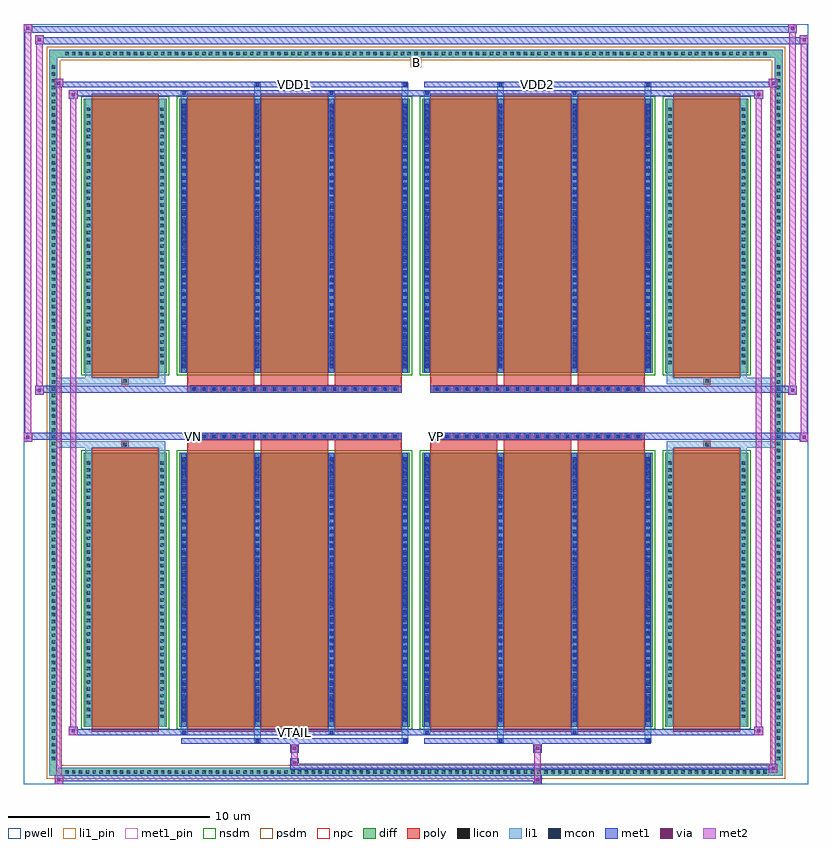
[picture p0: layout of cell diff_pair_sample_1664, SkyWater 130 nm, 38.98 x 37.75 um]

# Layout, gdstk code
import gdstk
lib = gdstk.Library(unit=1e-6, precision=5e-09)
def R(c, l, rs):  # rectangles x0, y0, x1, y1
    for r in rs: c.add(gdstk.rectangle(r[:2], r[2:], *l))
def A(c, l, x, y, w, h, nx, ny, dx, dy):  # array of equal rectangles
    R(c, l, [(x+i*dx, y+j*dy, x+i*dx+w, y+j*dy+h) for i in range(nx) for j in range(ny)])
def P(c, l, *ps):  # polygons
    for p in ps: c.add(gdstk.Polygon(p, *l))
pwell = (64, 44)
diff = (65, 20)
poly = (66, 20)
licon = (66, 44)
li1_pin = (67, 16)
li1 = (67, 20)
mcon = (67, 44)
met1_pin = (68, 16)
met1 = (68, 20)
via = (68, 44)
met2 = (69, 20)
nsdm = (93, 44)
psdm = (94, 20)
npc = (95, 20)

diff_pair_sample_1664 = lib.new_cell('diff_pair_sample_1664')
R(diff_pair_sample_1664, pwell, [(-19.49,-18.44,19.49,19.31), (-16.81,-16.63,-0.01,-0.805), (0.01,-16.63,16.81,-0.805), (-16.81,0.805,-0.01,16.63), (0.01,0.805,16.81,16.63)])
A(diff_pair_sample_1664, diff, -17.545, -18.04, 0.41, 0.41, 103, 2, 0.34, 35.67)
A(diff_pair_sample_1664, diff, -18.22, -17.375, 0.41, 0.41, 1, 102, 0, 0.34)
A(diff_pair_sample_1664, diff, 17.81, -17.375, 0.41, 0.41, 1, 102, 0, 0.34)
R(diff_pair_sample_1664, diff, [(-17.545,-18.04,17.545,-17.63), (-18.22,-17.375,-17.81,17.375), (17.81,-17.375,18.22,17.375), (-16.5,-15.585,-12.39,-1.985), (-11.75,-15.585,-0.32,-1.985), (0.32,-15.585,11.75,-1.985), (12.39,-15.585,16.5,-1.985), (-16.5,1.985,-12.39,15.585), (-11.75,1.985,-0.32,15.585), (0.32,1.985,11.75,15.585), (12.39,1.985,16.5,15.585), (-17.545,17.63,17.545,18.04)])
P(diff_pair_sample_1664, diff, [(18.22,18.04),(-18.22,18.04),(-18.22,-17.63),(-17.81,-17.63),(-17.81,17.63),(17.81,17.63),(17.81,-17.63),(-17.81,-17.63),(-18.22,-17.63),(-18.22,-18.04),(18.22,-18.04)])
A(diff_pair_sample_1664, poly, -11.36, -15.835, 3.33, 14.1, 3, 2, 3.66, 17.57)
A(diff_pair_sample_1664, poly, 0.71, -15.835, 3.33, 14.1, 3, 2, 3.66, 17.57)
A(diff_pair_sample_1664, poly, -11.36, -1.735, 3.33, 0.4, 3, 2, 3.66, 3.07)
A(diff_pair_sample_1664, poly, 0.71, -1.735, 3.33, 0.4, 3, 2, 3.66, 3.07)
A(diff_pair_sample_1664, poly, -11.2, -1.335, 0.33, 0.33, 21, 2, 0.5, 2.34)
A(diff_pair_sample_1664, poly, 0.87, -1.335, 0.33, 0.33, 21, 2, 0.5, 2.34)
R(diff_pair_sample_1664, poly, [(-16.11,-15.835,-12.78,-1.735), (12.78,-15.835,16.11,-1.735), (-14.61,-1.735,-14.28,-1.405), (-14.61,-1.735,-14.28,-1.405), (14.28,-1.735,14.61,-1.405), (14.28,-1.735,14.61,-1.405), (-11.36,-1.335,-0.71,-1.005), (0.71,-1.335,11.36,-1.005), (-11.36,1.005,-0.71,1.335), (0.71,1.005,11.36,1.335), (-14.61,1.405,-14.28,1.735), (-14.61,1.405,-14.28,1.735), (14.28,1.405,14.61,1.735), (14.28,1.405,14.61,1.735), (-16.11,1.735,-12.78,15.835), (12.78,1.735,16.11,15.835)])
A(diff_pair_sample_1664, licon, -17.425, -17.92, 0.17, 0.17, 103, 2, 0.34, 35.67)
A(diff_pair_sample_1664, licon, -18.1, -17.255, 0.17, 0.17, 1, 102, 0, 0.34)
A(diff_pair_sample_1664, licon, 17.93, -17.255, 0.17, 0.17, 1, 102, 0, 0.34)
A(diff_pair_sample_1664, licon, -16.36, -15.16, 0.17, 0.17, 1, 38, 0, 0.34)
A(diff_pair_sample_1664, licon, -12.7, -15.16, 0.17, 0.17, 1, 38, 0, 0.34)
A(diff_pair_sample_1664, licon, -11.61, -15.16, 0.17, 0.17, 4, 38, 3.66, 0.34)
A(diff_pair_sample_1664, licon, 0.46, -15.16, 0.17, 0.17, 4, 38, 3.66, 0.34)
A(diff_pair_sample_1664, licon, 12.53, -15.16, 0.17, 0.17, 1, 38, 0, 0.34)
A(diff_pair_sample_1664, licon, 16.19, -15.16, 0.17, 0.17, 1, 38, 0, 0.34)
A(diff_pair_sample_1664, licon, -11.12, -1.255, 0.17, 0.17, 21, 2, 0.5, 2.34)
A(diff_pair_sample_1664, licon, 0.95, -1.255, 0.17, 0.17, 21, 2, 0.5, 2.34)
A(diff_pair_sample_1664, licon, -16.36, 2.41, 0.17, 0.17, 1, 38, 0, 0.34)
A(diff_pair_sample_1664, licon, -12.7, 2.41, 0.17, 0.17, 1, 38, 0, 0.34)
A(diff_pair_sample_1664, licon, -11.61, 2.41, 0.17, 0.17, 4, 38, 3.66, 0.34)
A(diff_pair_sample_1664, licon, 0.46, 2.41, 0.17, 0.17, 4, 38, 3.66, 0.34)
A(diff_pair_sample_1664, licon, 12.53, 2.41, 0.17, 0.17, 1, 38, 0, 0.34)
A(diff_pair_sample_1664, licon, 16.19, 2.41, 0.17, 0.17, 1, 38, 0, 0.34)
R(diff_pair_sample_1664, licon, [(-14.53,-1.655,-14.36,-1.485), (14.36,-1.655,14.53,-1.485), (-14.53,1.485,-14.36,1.655), (14.36,1.485,14.53,1.655)])
R(diff_pair_sample_1664, li1_pin, [(-0.25,17.13,0.25,17.63)])
A(diff_pair_sample_1664, li1, -17.505, -18, 0.33, 0.33, 103, 2, 0.34, 35.67)
A(diff_pair_sample_1664, li1, -18.18, -17.335, 0.33, 0.33, 1, 102, 0, 0.34)
A(diff_pair_sample_1664, li1, 17.85, -17.335, 0.33, 0.33, 1, 102, 0, 0.34)
A(diff_pair_sample_1664, li1, -11.69, -15.585, 0.33, 13.6, 4, 2, 3.66, 17.57)
A(diff_pair_sample_1664, li1, 0.38, -15.585, 0.33, 13.6, 4, 2, 3.66, 17.57)
A(diff_pair_sample_1664, li1, -11.61, -15.35, 0.17, 0.17, 4, 37, 3.66, 0.36)
A(diff_pair_sample_1664, li1, -11.61, -15.35, 0.17, 13.13, 4, 2, 3.66, 17.57)
A(diff_pair_sample_1664, li1, 0.46, -15.35, 0.17, 0.17, 4, 37, 3.66, 0.36)
A(diff_pair_sample_1664, li1, 0.46, -15.35, 0.17, 13.13, 4, 2, 3.66, 17.57)
A(diff_pair_sample_1664, li1, -16.44, -15.24, 0.33, 0.33, 1, 38, 0, 0.34)
A(diff_pair_sample_1664, li1, -12.78, -15.24, 0.33, 0.33, 1, 38, 0, 0.34)
A(diff_pair_sample_1664, li1, -11.69, -15.24, 0.33, 0.33, 4, 38, 3.66, 0.34)
A(diff_pair_sample_1664, li1, 0.38, -15.24, 0.33, 0.33, 4, 38, 3.66, 0.34)
A(diff_pair_sample_1664, li1, 12.45, -15.24, 0.33, 0.33, 1, 38, 0, 0.34)
A(diff_pair_sample_1664, li1, 16.11, -15.24, 0.33, 0.33, 1, 38, 0, 0.34)
A(diff_pair_sample_1664, li1, -11.2, -1.335, 0.33, 0.33, 21, 2, 0.5, 2.34)
A(diff_pair_sample_1664, li1, 0.87, -1.335, 0.33, 0.33, 21, 2, 0.5, 2.34)
A(diff_pair_sample_1664, li1, -11.61, 2.22, 0.17, 0.17, 4, 37, 3.66, 0.36)
A(diff_pair_sample_1664, li1, 0.46, 2.22, 0.17, 0.17, 4, 37, 3.66, 0.36)
A(diff_pair_sample_1664, li1, -16.44, 2.33, 0.33, 0.33, 1, 38, 0, 0.34)
A(diff_pair_sample_1664, li1, -12.78, 2.33, 0.33, 0.33, 1, 38, 0, 0.34)
A(diff_pair_sample_1664, li1, -11.69, 2.33, 0.33, 0.33, 4, 38, 3.66, 0.34)
A(diff_pair_sample_1664, li1, 0.38, 2.33, 0.33, 0.33, 4, 38, 3.66, 0.34)
A(diff_pair_sample_1664, li1, 12.45, 2.33, 0.33, 0.33, 1, 38, 0, 0.34)
A(diff_pair_sample_1664, li1, 16.11, 2.33, 0.33, 0.33, 1, 38, 0, 0.34)
R(diff_pair_sample_1664, li1, [(-18.22,-18.04,-17.81,-17.63), (-18.22,-18.04,-17.81,-17.63), (-17.81,-18.04,17.81,-17.63), (17.81,-18.04,18.22,-17.63), (17.81,-18.04,18.22,-17.63), (-18.22,-17.63,-17.81,17.63), (17.81,-17.63,18.22,17.63), (-8.03,-16.39,-7.7,-15.585), (-7.95,-16.39,-7.78,-16.22), (-0.71,-16.39,-0.38,-15.585), (-0.63,-16.39,-0.46,-16.22), (4.04,-16.39,4.37,-15.585), (4.12,-16.39,4.29,-16.22), (11.36,-16.39,11.69,-15.585), (11.44,-16.39,11.61,-16.22), (-11.69,-15.96,-11.36,-15.585), (-11.61,-15.96,-11.44,-15.79), (-4.37,-15.96,-4.04,-15.585), (-4.29,-15.96,-4.12,-15.79), (0.38,-15.96,0.71,-15.585), (0.46,-15.96,0.63,-15.79), (7.7,-15.96,8.03,-15.585), (7.78,-15.96,7.95,-15.79), (-16.44,-15.585,-16.11,-1.985), (-12.78,-15.585,-12.45,-1.985), (12.45,-15.585,12.78,-1.985), (16.11,-15.585,16.44,-1.985), (-16.44,-1.985,-16.11,-1.405), (-12.78,-1.985,-12.45,-1.405), (12.45,-1.985,12.78,-1.405), (16.11,-1.985,16.44,-1.405), (-18.22,-1.735,-14.61,-1.405), (-16.44,-1.735,-14.61,-1.405), (-14.61,-1.735,-14.28,-1.405), (-14.28,-1.735,-12.45,-1.405), (12.45,-1.735,14.28,-1.405), (14.28,-1.735,14.61,-1.405), (14.28,-1.735,18.22,-1.405), (14.61,-1.735,16.44,-1.405), (-18.22,1.405,-14.61,1.735), (-16.44,1.405,-14.61,1.735), (-16.44,1.405,-16.11,1.985), (-14.61,1.405,-14.28,1.735), (-14.28,1.405,-12.45,1.735), (-12.78,1.405,-12.45,1.985), (12.45,1.405,14.28,1.735), (12.45,1.405,12.78,1.985), (14.28,1.405,14.61,1.735), (14.28,1.405,18.22,1.735), (14.61,1.405,16.44,1.735), (16.11,1.405,16.44,1.985), (-16.44,1.985,-16.11,15.585), (-12.78,1.985,-12.45,15.585), (12.45,1.985,12.78,15.585), (16.11,1.985,16.44,15.585), (-11.69,15.585,-11.36,15.96), (-8.03,15.585,-7.7,16.39), (-4.37,15.585,-4.04,15.96), (-0.71,15.585,-0.38,16.39), (0.38,15.585,0.71,15.96), (4.04,15.585,4.37,16.39), (7.7,15.585,8.03,15.96), (11.36,15.585,11.69,16.39), (-11.61,15.79,-11.44,15.96), (-4.29,15.79,-4.12,15.96), (0.46,15.79,0.63,15.96), (7.78,15.79,7.95,15.96), (-7.95,16.22,-7.78,16.39), (-0.63,16.22,-0.46,16.39), (4.12,16.22,4.29,16.39), (11.44,16.22,11.61,16.39), (-18.22,17.63,-17.81,18.04), (-18.22,17.63,-17.81,18.04), (-17.81,17.63,17.81,18.04), (17.81,17.63,18.22,18.04), (17.81,17.63,18.22,18.04)])
A(diff_pair_sample_1664, mcon, -11.61, -15.35, 0.17, 0.17, 4, 37, 3.66, 0.36)
A(diff_pair_sample_1664, mcon, 0.46, -15.35, 0.17, 0.17, 4, 37, 3.66, 0.36)
A(diff_pair_sample_1664, mcon, -11.12, -1.255, 0.17, 0.17, 21, 2, 0.5, 2.34)
A(diff_pair_sample_1664, mcon, 0.95, -1.255, 0.17, 0.17, 21, 2, 0.5, 2.34)
A(diff_pair_sample_1664, mcon, -11.61, 2.22, 0.17, 0.17, 4, 37, 3.66, 0.36)
A(diff_pair_sample_1664, mcon, 0.46, 2.22, 0.17, 0.17, 4, 37, 3.66, 0.36)
R(diff_pair_sample_1664, mcon, [(-7.95,-16.39,-7.78,-16.22), (-0.63,-16.39,-0.46,-16.22), (4.12,-16.39,4.29,-16.22), (11.44,-16.39,11.61,-16.22), (-11.61,-15.96,-11.44,-15.79), (-4.29,-15.96,-4.12,-15.79), (0.46,-15.96,0.63,-15.79), (7.78,-15.96,7.95,-15.79), (-11.61,15.79,-11.44,15.96), (-4.29,15.79,-4.12,15.96), (0.46,15.79,0.63,15.96), (7.78,15.79,7.95,15.96), (-7.95,16.22,-7.78,16.39), (-0.63,16.22,-0.46,16.39), (4.12,16.22,4.29,16.39), (11.44,16.22,11.61,16.39)])
R(diff_pair_sample_1664, met1_pin, [(-6.17,-16,-5.9,-15.73), (-11.17,-1.295,-10.9,-1.025), (0.9,-1.295,1.17,-1.025), (-6.17,16.18,-5.9,16.45), (5.9,16.18,6.17,16.45)])
A(diff_pair_sample_1664, met1, -11.67, -15.585, 0.29, 13.6, 4, 2, 3.66, 17.57)
A(diff_pair_sample_1664, met1, 0.4, -15.585, 0.29, 13.6, 4, 2, 3.66, 17.57)
A(diff_pair_sample_1664, met1, -11.67, -15.41, 0.29, 0.29, 4, 37, 3.66, 0.36)
A(diff_pair_sample_1664, met1, 0.4, -15.41, 0.29, 0.29, 4, 37, 3.66, 0.36)
A(diff_pair_sample_1664, met1, -11.18, -1.315, 0.29, 0.29, 21, 2, 0.5, 2.34)
A(diff_pair_sample_1664, met1, 0.89, -1.315, 0.29, 0.29, 21, 2, 0.5, 2.34)
A(diff_pair_sample_1664, met1, -11.67, 2.16, 0.29, 0.29, 4, 37, 3.66, 0.36)
A(diff_pair_sample_1664, met1, 0.4, 2.16, 0.29, 0.29, 4, 37, 3.66, 0.36)
R(diff_pair_sample_1664, met1, [(-17.95,-18.44,-17.52,-18.01), (5.82,-18.44,6.25,-18.01), (-17.95,-18.3,6.25,-18.01), (17.52,-17.87,17.95,-17.44), (-6.25,-17.73,17.95,-17.44), (-6.25,-17.59,-5.82,-17.16), (-6.25,-16.88,-5.82,-16.45), (5.82,-16.88,6.25,-16.45), (-11.67,-16.45,-0.4,-16.16), (-8.01,-16.45,-7.72,-16.16), (-0.69,-16.45,-0.4,-16.16), (0.4,-16.45,11.67,-16.16), (4.06,-16.45,4.35,-16.16), (11.38,-16.45,11.67,-16.16), (-17.24,-16.02,-16.81,-15.59), (-17.24,-16.02,-11.67,-15.73), (-11.67,-16.02,-11.38,-15.73), (-11.67,-16.02,-0.4,-15.73), (-4.35,-16.02,-4.06,-15.73), (-0.4,-16.02,0.4,-15.73), (0.4,-16.02,0.69,-15.73), (0.4,-16.02,11.67,-15.73), (7.72,-16.02,8.01,-15.73), (11.67,-16.02,17.24,-15.73), (16.81,-16.02,17.24,-15.59), (-19.49,-1.435,-19.06,-1.005), (19.06,-1.435,19.49,-1.005), (-19.49,-1.335,-0.71,-1.005), (-11.36,-1.335,-0.71,-1.005), (0.71,-1.335,11.36,-1.005), (0.71,-1.335,19.49,-1.005), (-18.92,0.905,-18.49,1.335), (18.49,0.905,18.92,1.335), (-18.92,1.005,-11.36,1.335), (-11.36,1.005,-0.71,1.335), (0.71,1.005,11.36,1.335), (11.36,1.005,18.92,1.335), (-17.24,15.59,-16.81,16.02), (16.81,15.59,17.24,16.02), (-17.24,15.73,-11.67,16.02), (-11.67,15.73,-11.38,16.02), (-11.67,15.73,-0.4,16.02), (-4.35,15.73,-4.06,16.02), (-0.4,15.73,0.4,16.02), (0.4,15.73,0.69,16.02), (0.4,15.73,11.67,16.02), (7.72,15.73,8.01,16.02), (11.67,15.73,17.24,16.02), (-17.95,16.16,-17.52,16.59), (-17.95,16.16,-11.67,16.45), (-11.67,16.16,-0.4,16.45), (-8.01,16.16,-7.72,16.45), (-0.69,16.16,-0.4,16.45), (0.4,16.16,11.67,16.45), (4.06,16.16,4.35,16.45), (11.38,16.16,11.67,16.45), (11.67,16.16,17.95,16.45), (17.52,16.16,17.95,16.59), (-18.92,18.31,-18.49,18.74), (-18.92,18.31,-16.81,18.64), (-16.81,18.31,16.81,18.64), (16.81,18.31,19.49,18.64), (19.06,18.31,19.49,18.74), (-19.49,18.88,-19.06,19.31), (-19.49,18.88,-16.81,19.21), (-16.81,18.88,16.81,19.21), (16.81,18.88,18.92,19.21), (18.49,18.88,18.92,19.31)])
R(diff_pair_sample_1664, via, [(-17.81,-18.3,-17.66,-18.15), (5.96,-18.3,6.11,-18.15), (17.66,-17.73,17.81,-17.58), (-6.11,-17.45,-5.96,-17.3), (-6.11,-16.74,-5.96,-16.59), (5.96,-16.74,6.11,-16.59), (-17.1,-15.88,-16.95,-15.73), (16.95,-15.88,17.1,-15.73), (-19.35,-1.295,-19.2,-1.145), (19.2,-1.295,19.35,-1.145), (-18.78,1.045,-18.63,1.195), (18.63,1.045,18.78,1.195), (-17.1,15.73,-16.95,15.88), (16.95,15.73,17.1,15.88), (-17.81,16.3,-17.66,16.45), (17.66,16.3,17.81,16.45), (-18.78,18.45,-18.63,18.6), (19.2,18.45,19.35,18.6), (-19.35,19.02,-19.2,19.17), (18.63,19.02,18.78,19.17)])
R(diff_pair_sample_1664, met2, [(-17.95,-18.44,-17.52,-18.01), (-17.88,-18.44,-17.59,16.59), (-17.59,-18.44,-17.52,-18.01), (-17.9,-18.39,-17.57,-18.06), (5.87,-18.39,6.2,-18.06), (5.87,-18.06,6.2,-16.83), (17.52,-17.87,17.95,-17.44), (17.59,-17.87,17.88,16.59), (17.88,-17.87,17.95,-17.44), (17.57,-17.82,17.9,-17.49), (-6.2,-17.54,-5.87,-17.21), (-6.2,-17.21,-5.87,-16.83), (-6.2,-16.83,-5.87,-16.5), (5.87,-16.83,6.2,-16.5), (-17.24,-16.02,-16.81,-15.59), (-17.17,-16.02,-16.88,16.02), (-16.88,-16.02,-16.81,-15.59), (16.81,-16.02,17.24,-15.59), (16.88,-16.02,17.17,16.02), (17.17,-16.02,17.24,-15.59), (-17.19,-15.97,-16.86,-15.64), (16.86,-15.97,17.19,-15.64), (-19.49,-1.435,-19.06,-1.005), (-19.44,-1.435,-19.11,19.31), (-19.11,-1.435,-19.06,-1.005), (19.06,-1.435,19.49,-1.005), (19.11,-1.435,19.44,18.74), (19.44,-1.435,19.49,-1.005), (-19.44,-1.385,-19.11,-1.055), (19.11,-1.385,19.44,-1.055), (-18.92,0.905,-18.49,1.335), (-18.87,0.905,-18.54,18.74), (-18.54,0.905,-18.49,1.335), (18.49,0.905,18.92,1.335), (18.54,0.905,18.87,19.31), (18.87,0.905,18.92,1.335), (-18.87,0.955,-18.54,1.285), (18.54,0.955,18.87,1.285), (-17.24,15.59,-16.81,16.02), (-16.88,15.59,-16.81,16.02), (16.81,15.59,17.24,16.02), (17.17,15.59,17.24,16.02), (-17.19,15.64,-16.86,15.97), (16.86,15.64,17.19,15.97), (-17.95,16.16,-17.52,16.59), (-17.59,16.16,-17.52,16.59), (17.52,16.16,17.95,16.59), (17.88,16.16,17.95,16.59), (-17.9,16.21,-17.57,16.54), (17.57,16.21,17.9,16.54), (-18.92,18.31,-18.49,18.74), (-18.54,18.31,-18.49,18.74), (19.06,18.31,19.49,18.74), (19.44,18.31,19.49,18.74), (-18.87,18.36,-18.54,18.69), (19.11,18.36,19.44,18.69), (-19.49,18.88,-19.06,19.31), (-19.11,18.88,-19.06,19.31), (18.49,18.88,18.92,19.31), (18.87,18.88,18.92,19.31), (-19.44,18.93,-19.11,19.26), (18.54,18.93,18.87,19.26)])
R(diff_pair_sample_1664, nsdm, [(-16.63,-15.715,-12.26,-1.855), (-11.88,-15.715,-0.19,-1.855), (0.19,-15.715,11.88,-1.855), (12.26,-15.715,16.63,-1.855), (-16.63,1.855,-12.26,15.715), (-11.88,1.855,-0.19,15.715), (0.19,1.855,11.88,15.715), (12.26,1.855,16.63,15.715)])
P(diff_pair_sample_1664, psdm, [(18.35,18.17),(-18.35,18.17),(-18.35,-17.5),(-17.68,-17.5),(-17.68,17.5),(17.68,17.5),(17.68,-17.5),(-17.68,-17.5),(-18.35,-17.5),(-18.35,-18.17),(18.35,-18.17)])
A(diff_pair_sample_1664, npc, -11.22, -1.355, 0.37, 0.37, 21, 2, 0.5, 2.34)
A(diff_pair_sample_1664, npc, 0.85, -1.355, 0.37, 0.37, 21, 2, 0.5, 2.34)
R(diff_pair_sample_1664, npc, [(-14.63,-1.755,-14.26,-1.385), (14.26,-1.755,14.63,-1.385), (-11.22,-1.355,-10.35,-0.985), (-11.22,-1.355,-10.35,-0.985), (-10.72,-1.355,-9.85,-0.985), (-10.72,-1.355,-9.85,-0.985), (-10.22,-1.355,-9.35,-0.985), (-10.22,-1.355,-9.35,-0.985), (-9.72,-1.355,-8.85,-0.985), (-9.72,-1.355,-8.85,-0.985), (-9.22,-1.355,-8.35,-0.985), (-9.22,-1.355,-8.35,-0.985), (-8.72,-1.355,-7.85,-0.985), (-8.72,-1.355,-7.85,-0.985), (-8.22,-1.355,-7.35,-0.985), (-8.22,-1.355,-7.35,-0.985), (-7.72,-1.355,-6.85,-0.985), (-7.72,-1.355,-6.85,-0.985), (-7.22,-1.355,-6.35,-0.985), (-7.22,-1.355,-6.35,-0.985), (-6.72,-1.355,-5.85,-0.985), (-6.72,-1.355,-5.85,-0.985), (-6.22,-1.355,-5.35,-0.985), (-6.22,-1.355,-5.35,-0.985), (-5.72,-1.355,-4.85,-0.985), (-5.72,-1.355,-4.85,-0.985), (-5.22,-1.355,-4.35,-0.985), (-5.22,-1.355,-4.35,-0.985), (-4.72,-1.355,-3.85,-0.985), (-4.72,-1.355,-3.85,-0.985), (-4.22,-1.355,-3.35,-0.985), (-4.22,-1.355,-3.35,-0.985), (-3.72,-1.355,-2.85,-0.985), (-3.72,-1.355,-2.85,-0.985), (-3.22,-1.355,-2.35,-0.985), (-3.22,-1.355,-2.35,-0.985), (-2.72,-1.355,-1.85,-0.985), (-2.72,-1.355,-1.85,-0.985), (-2.22,-1.355,-1.35,-0.985), (-2.22,-1.355,-1.35,-0.985), (-1.72,-1.355,-0.85,-0.985), (-1.72,-1.355,-0.85,-0.985), (0.85,-1.355,1.72,-0.985), (0.85,-1.355,1.72,-0.985), (1.35,-1.355,2.22,-0.985), (1.35,-1.355,2.22,-0.985), (1.85,-1.355,2.72,-0.985), (1.85,-1.355,2.72,-0.985), (2.35,-1.355,3.22,-0.985), (2.35,-1.355,3.22,-0.985), (2.85,-1.355,3.72,-0.985), (2.85,-1.355,3.72,-0.985), (3.35,-1.355,4.22,-0.985), (3.35,-1.355,4.22,-0.985), (3.85,-1.355,4.72,-0.985), (3.85,-1.355,4.72,-0.985), (4.35,-1.355,5.22,-0.985), (4.35,-1.355,5.22,-0.985), (4.85,-1.355,5.72,-0.985), (4.85,-1.355,5.72,-0.985), (5.35,-1.355,6.22,-0.985), (5.35,-1.355,6.22,-0.985), (5.85,-1.355,6.72,-0.985), (5.85,-1.355,6.72,-0.985), (6.35,-1.355,7.22,-0.985), (6.35,-1.355,7.22,-0.985), (6.85,-1.355,7.72,-0.985), (6.85,-1.355,7.72,-0.985), (7.35,-1.355,8.22,-0.985), (7.35,-1.355,8.22,-0.985), (7.85,-1.355,8.72,-0.985), (7.85,-1.355,8.72,-0.985), (8.35,-1.355,9.22,-0.985), (8.35,-1.355,9.22,-0.985), (8.85,-1.355,9.72,-0.985), (8.85,-1.355,9.72,-0.985), (9.35,-1.355,10.22,-0.985), (9.35,-1.355,10.22,-0.985), (9.85,-1.355,10.72,-0.985), (9.85,-1.355,10.72,-0.985), (10.35,-1.355,11.22,-0.985), (10.35,-1.355,11.22,-0.985), (-11.22,0.985,-10.35,1.355), (-11.22,0.985,-10.35,1.355), (-10.72,0.985,-9.85,1.355), (-10.72,0.985,-9.85,1.355), (-10.22,0.985,-9.35,1.355), (-10.22,0.985,-9.35,1.355), (-9.72,0.985,-8.85,1.355), (-9.72,0.985,-8.85,1.355), (-9.22,0.985,-8.35,1.355), (-9.22,0.985,-8.35,1.355), (-8.72,0.985,-7.85,1.355), (-8.72,0.985,-7.85,1.355), (-8.22,0.985,-7.35,1.355), (-8.22,0.985,-7.35,1.355), (-7.72,0.985,-6.85,1.355), (-7.72,0.985,-6.85,1.355), (-7.22,0.985,-6.35,1.355), (-7.22,0.985,-6.35,1.355), (-6.72,0.985,-5.85,1.355), (-6.72,0.985,-5.85,1.355), (-6.22,0.985,-5.35,1.355), (-6.22,0.985,-5.35,1.355), (-5.72,0.985,-4.85,1.355), (-5.72,0.985,-4.85,1.355), (-5.22,0.985,-4.35,1.355), (-5.22,0.985,-4.35,1.355), (-4.72,0.985,-3.85,1.355), (-4.72,0.985,-3.85,1.355), (-4.22,0.985,-3.35,1.355), (-4.22,0.985,-3.35,1.355), (-3.72,0.985,-2.85,1.355), (-3.72,0.985,-2.85,1.355), (-3.22,0.985,-2.35,1.355), (-3.22,0.985,-2.35,1.355), (-2.72,0.985,-1.85,1.355), (-2.72,0.985,-1.85,1.355), (-2.22,0.985,-1.35,1.355), (-2.22,0.985,-1.35,1.355), (-1.72,0.985,-0.85,1.355), (-1.72,0.985,-0.85,1.355), (0.85,0.985,1.72,1.355), (0.85,0.985,1.72,1.355), (1.35,0.985,2.22,1.355), (1.35,0.985,2.22,1.355), (1.85,0.985,2.72,1.355), (1.85,0.985,2.72,1.355), (2.35,0.985,3.22,1.355), (2.35,0.985,3.22,1.355), (2.85,0.985,3.72,1.355), (2.85,0.985,3.72,1.355), (3.35,0.985,4.22,1.355), (3.35,0.985,4.22,1.355), (3.85,0.985,4.72,1.355), (3.85,0.985,4.72,1.355), (4.35,0.985,5.22,1.355), (4.35,0.985,5.22,1.355), (4.85,0.985,5.72,1.355), (4.85,0.985,5.72,1.355), (5.35,0.985,6.22,1.355), (5.35,0.985,6.22,1.355), (5.85,0.985,6.72,1.355), (5.85,0.985,6.72,1.355), (6.35,0.985,7.22,1.355), (6.35,0.985,7.22,1.355), (6.85,0.985,7.72,1.355), (6.85,0.985,7.72,1.355), (7.35,0.985,8.22,1.355), (7.35,0.985,8.22,1.355), (7.85,0.985,8.72,1.355), (7.85,0.985,8.72,1.355), (8.35,0.985,9.22,1.355), (8.35,0.985,9.22,1.355), (8.85,0.985,9.72,1.355), (8.85,0.985,9.72,1.355), (9.35,0.985,10.22,1.355), (9.35,0.985,10.22,1.355), (9.85,0.985,10.72,1.355), (9.85,0.985,10.72,1.355), (10.35,0.985,11.22,1.355), (10.35,0.985,11.22,1.355), (-14.63,1.385,-14.26,1.755), (14.26,1.385,14.63,1.755)])
diff_pair_sample_1664.add(gdstk.Label('VTAIL', (-6.035,-15.865), layer=68, texttype=5))
diff_pair_sample_1664.add(gdstk.Label('VN', (-11.035,-1.16), layer=68, texttype=5))
diff_pair_sample_1664.add(gdstk.Label('VP', (1.035,-1.16), layer=68, texttype=5))
diff_pair_sample_1664.add(gdstk.Label('B', (0,17.38), layer=67, texttype=5))
diff_pair_sample_1664.add(gdstk.Label('VDD2', (6.035,16.315), layer=68, texttype=5))
diff_pair_sample_1664.add(gdstk.Label('VDD1', (-6.035,16.315), layer=68, texttype=5))

lib.write_gds('diff_pair_sample_1664.gds')
